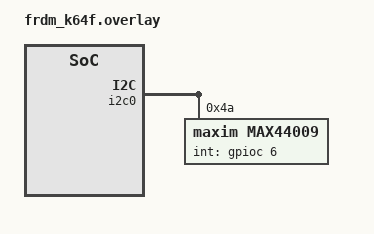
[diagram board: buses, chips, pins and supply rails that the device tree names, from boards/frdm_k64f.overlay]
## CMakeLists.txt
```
# SPDX-License-Identifier: Apache-2.0

cmake_minimum_required(VERSION 3.20.0)
find_package(Zephyr REQUIRED HINTS $ENV{ZEPHYR_BASE})
project(max44009)

FILE(GLOB app_sources src/*.c)
target_sources(app PRIVATE ${app_sources})
```

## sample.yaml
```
sample:
  name: MAX44009 light sensor
  description: >
    This is a sample app to read an external MAX44009 light sensor via I2C
    interface
tests:
  sample.sensor.max44009:
    tags: sensors
    harness: console
    depends_on:
      - i2c
    platform_allow:
      - frdm_k64f
    harness_config:
      type: multi_line
      ordered: true
      regex:
        - "MAX44009 light sensor application"
        - "sensor: lum reading: (.*)"
      fixture: fixture_i2c_max44009
```

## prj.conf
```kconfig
CONFIG_PRINTK=y
CONFIG_I2C=y
CONFIG_SENSOR=y
```

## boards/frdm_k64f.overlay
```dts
/*
 * Copyright (c) 2019, Linaro Ltd.
 *
 * SPDX-License-Identifier: Apache-2.0
 */

&i2c0 {
	max44009@4a {
		compatible = "maxim,max44009";
		reg = <0x4a>;
		int-gpios = <&gpioc 6 0>;
	};
};
```

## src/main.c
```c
/*
 * Copyright (c) 2016 Intel Corporation
 *
 * SPDX-License-Identifier: Apache-2.0
 */

#include <zephyr/kernel.h>
#include <zephyr/sys/printk.h>
#include <zephyr/drivers/sensor.h>

/**
 * @file Sample app using the MAX44009 light sensor through ARC I2C.
 *
 * This app will read the sensor reading via I2C interface and show
 * the result every 4 seconds.
 */

int main(void)
{
	const struct device *const dev = DEVICE_DT_GET_ONE(maxim_max44009);
	struct sensor_value val;
	uint32_t lum = 0U;

	printk("MAX44009 light sensor application\n");

	if (!device_is_ready(dev)) {
		printk("Device %s is not ready\n", dev->name);
		return 0;
	}

	while (1) {
		if (sensor_sample_fetch_chan(dev, SENSOR_CHAN_LIGHT) != 0) {
			printk("sensor: sample fetch fail.\n");
			return 0;
		}

		if (sensor_channel_get(dev, SENSOR_CHAN_LIGHT, &val) != 0) {
			printk("sensor: channel get fail.\n");
			return 0;
		}

		lum = val.val1;
		printk("sensor: lum reading: %d\n", lum);

		k_sleep(K_MSEC(4000));
	}
	return 0;
}
```
